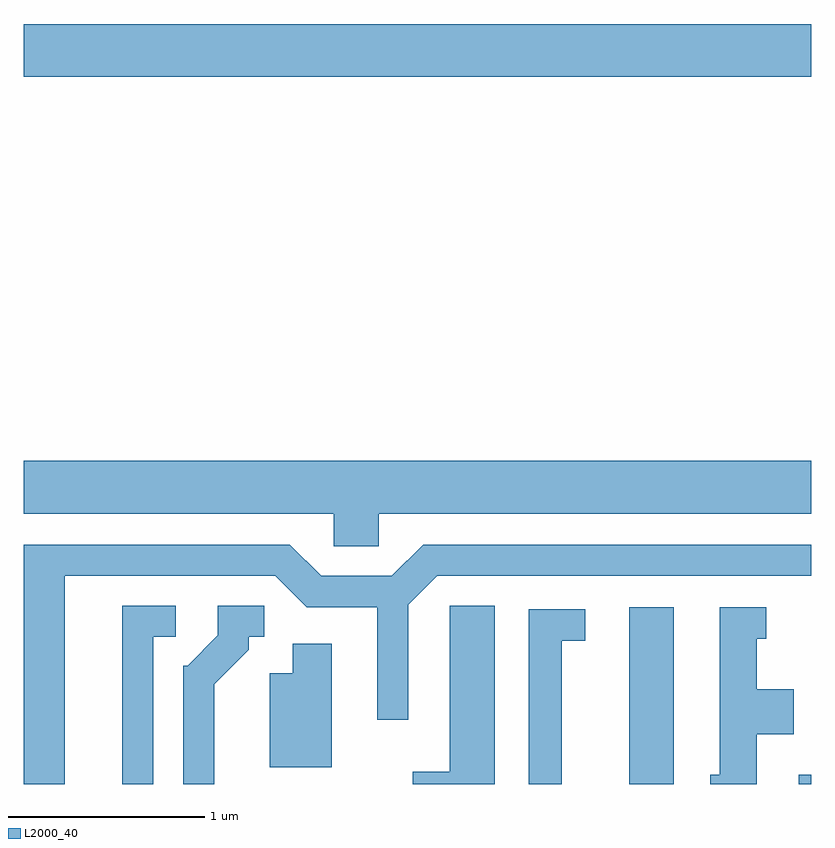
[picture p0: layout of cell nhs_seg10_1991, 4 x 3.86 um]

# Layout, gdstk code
import gdstk
lib = gdstk.Library(unit=1e-6, precision=1e-09)
def R(c, l, rs):  # rectangles x0, y0, x1, y1
    for r in rs: c.add(gdstk.rectangle(r[:2], r[2:], *l))
def P(c, l, *ps):  # polygons
    for p in ps: c.add(gdstk.Polygon(p, *l))
L2000_40 = (2000, 40)

nhs_seg10_1991 = lib.new_cell('nhs_seg10_1991')
R(nhs_seg10_1991, L2000_40, [(246.686,2132.522,246.914,2133.419), (247.548,2132.522,247.611,2132.569), (243.611,2136.116,247.611,2136.384)])
P(nhs_seg10_1991, L2000_40, [(245.414,2133.896),(247.611,2133.896),(247.611,2134.164),(243.611,2134.164),(243.611,2133.896),(245.186,2133.896),(245.186,2133.731),(245.414,2133.731)],
  [(243.819,2133.581),(244.889,2133.581),(245.049,2133.421),(245.406,2133.421),(245.406,2132.848),(245.564,2132.848),(245.564,2133.434),(245.712,2133.581),(247.611,2133.581),(247.611,2133.739),(245.639,2133.739),(245.479,2133.579),(245.122,2133.579),(244.962,2133.739),(243.611,2133.739),(243.611,2132.522),(243.819,2132.522)],
  [(246.004,2133.429),(245.776,2133.429),(245.776,2132.584),(245.588,2132.584),(245.588,2132.522),(246.004,2132.522)],
  [(244.579,2133.029),(244.754,2133.204),(244.754,2133.271),(244.833,2133.271),(244.833,2133.429),(244.596,2133.429),(244.596,2133.277),(244.444,2133.124),(244.421,2133.124),(244.421,2132.522),(244.579,2132.522)],
  [(244.269,2133.271),(244.383,2133.271),(244.383,2133.429),(244.111,2133.429),(244.111,2132.522),(244.269,2132.522)],
  [(247.334,2132.776),(247.524,2132.776),(247.524,2133.004),(247.334,2133.004),(247.334,2133.261),(247.383,2133.261),(247.383,2133.419),(247.146,2133.419),(247.146,2132.569),(247.098,2132.569),(247.098,2132.522),(247.334,2132.522)],
  [(246.344,2133.251),(246.463,2133.251),(246.463,2133.409),(246.176,2133.409),(246.176,2132.522),(246.344,2132.522)],
  [(245.174,2133.234),(244.976,2133.234),(244.976,2133.084),(244.861,2133.084),(244.861,2132.606),(245.174,2132.606)])

lib.write_gds('nhs_seg10_1991.gds')
